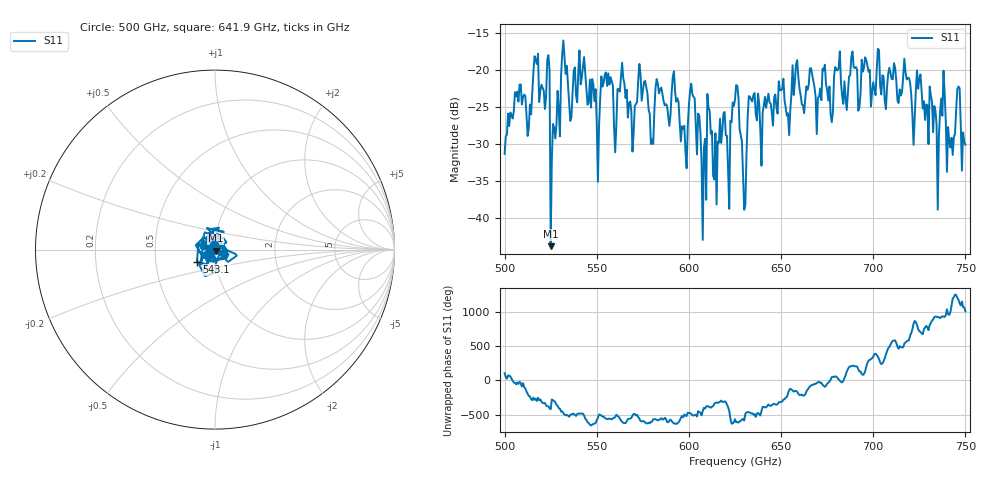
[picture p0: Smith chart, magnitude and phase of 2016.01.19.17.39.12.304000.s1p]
!Created with skrf (http://scikit-rf.org).
# GHz S RI R 50.0
!freq ReS11 ImS11
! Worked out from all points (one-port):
!   401 points, 500 GHz to 750 GHz, reference 50 ohm
!   lowest |S11| = -43.8 dB at 525 GHz (marker M1), VSWR 1.01, Z = 50.4 - j0.541 ohm
!   |S11| at or under -10 dB: start of sweep to end of sweep
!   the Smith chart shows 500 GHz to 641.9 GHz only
!   S11 on the Smith chart (normalised r, x): 500 GHz: 0.98, +0.05; 543.1 GHz: 0.81, -0.11; 641.9 GHz: 1.10, -0.06
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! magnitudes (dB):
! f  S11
! 500 GHz  -31.3
! 507.5 GHz  -24.3
! 513.1 GHz  -27.9
! 516.9 GHz  -18.6
! 523.1 GHz  -18.6
! 525 GHz  -43.8
! 526.2 GHz  -27.3
! 531.2 GHz  -17.9
! 543.1 GHz  -18.3
! 550 GHz  -27.2
! 562.5 GHz  -22.9
! 579.4 GHz  -30.0
! 583.1 GHz  -21.8
! 593.8 GHz  -23.8
! 598.1 GHz  -31.0
! 601.9 GHz  -23.3
! 608.1 GHz  -30.6
! 611.2 GHz  -25.5
! 614.4 GHz  -28.5
! 621.9 GHz  -38.8
! 625 GHz  -24.0
! 630 GHz  -38.9
! 633.8 GHz  -24.0
! 641.9 GHz  -25.1
! 656.2 GHz  -19.4
! 687.5 GHz  -20.7
! 718.8 GHz  -21.1
! 750 GHz  -30.1
